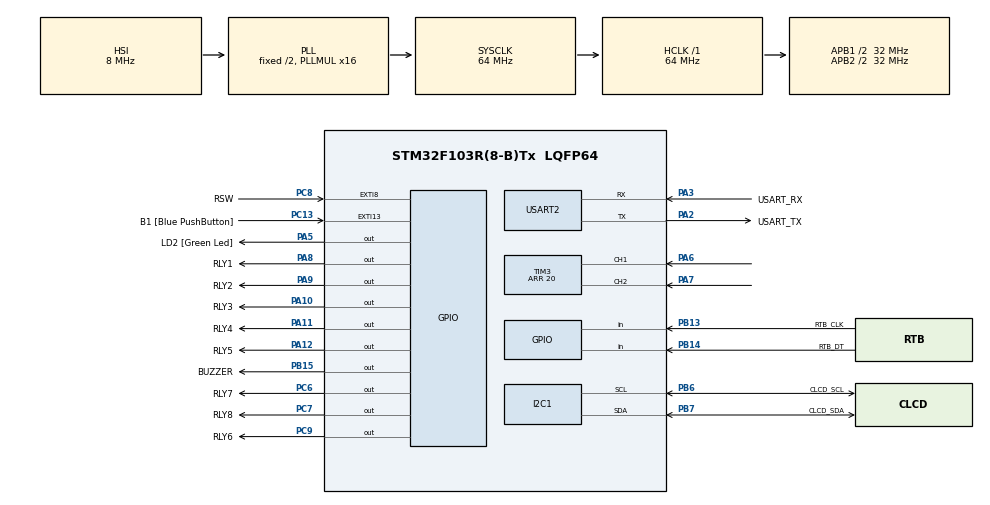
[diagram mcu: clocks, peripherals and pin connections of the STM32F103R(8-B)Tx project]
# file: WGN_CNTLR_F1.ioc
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Mcu.Family=STM32F1
Mcu.Name=STM32F103R(8-B)Tx
Mcu.Package=LQFP64
NVIC.EXTI15_10_IRQn=true\:0\:0\:false\:false\:true\:true\:true\:true
NVIC.EXTI9_5_IRQn=true\:0\:0\:false\:false\:true\:true\:true\:true
NVIC.PriorityGroup=NVIC_PRIORITYGROUP_4
NVIC.TIM2_IRQn=true\:0\:0\:false\:false\:true\:true\:true\:true
NVIC.TIM3_IRQn=true\:0\:0\:false\:false\:true\:true\:true\:true
PA10.GPIO_Label=RLY3
PA10.Signal=GPIO_Output
PA11.GPIO_Label=RLY4
PA11.Signal=GPIO_Output
PA12.GPIO_Label=RLY5
PA12.Signal=GPIO_Output
PA13.GPIO_Label=TMS
PA13.Mode=Serial_Wire
PA13.Signal=SYS_JTMS-SWDIO
PA14.GPIO_Label=TCK
PA14.Mode=Serial_Wire
PA14.Signal=SYS_JTCK-SWCLK
PA2.GPIO_Label=USART_TX
PA2.GPIO_Mode=GPIO_MODE_AF_PP
PA2.GPIO_PuPd=GPIO_NOPULL
PA2.GPIO_Speed=GPIO_SPEED_FREQ_LOW
PA2.Mode=Asynchronous
PA2.Signal=USART2_TX
PA3.GPIO_Label=USART_RX
PA3.GPIO_Mode=GPIO_MODE_AF_PP
PA3.GPIO_PuPd=GPIO_NOPULL
PA3.GPIO_Speed=GPIO_SPEED_FREQ_LOW
PA3.Mode=Asynchronous
PA3.Signal=USART2_RX
PA5.GPIO_Label=LD2 [Green Led]
PA5.GPIO_ModeDefaultOutputPP=GPIO_MODE_OUTPUT_PP
PA5.GPIO_PuPd=GPIO_NOPULL
PA5.GPIO_Speed=GPIO_SPEED_FREQ_LOW
PA5.Signal=GPIO_Output
PA6.GPIO_PuPd=GPIO_PULLDOWN
PA6.Signal=S_TIM3_CH1
PA7.GPIO_PuPd=GPIO_PULLDOWN
PA7.Signal=S_TIM3_CH2
PA8.GPIO_Label=RLY1
PA8.Signal=GPIO_Output
PA9.GPIO_Label=RLY2
PA9.Signal=GPIO_Output
PB13.GPIO_Label=RTB_CLK
PB13.Signal=GPIO_Input
PB14.GPIO_Label=RTB_DT
PB14.Signal=GPIO_Input
PB15.GPIO_Label=BUZZER
PB15.Signal=GPIO_Output
PB3.GPIO_Label=SWO
PB3.Signal=SYS_JTDO-TRACESWO
PB6.GPIO_Label=CLCD_SCL
PB6.Mode=I2C
PB6.Signal=I2C1_SCL
PB7.GPIO_Label=CLCD_SDA
PB7.Mode=I2C
PB7.Signal=I2C1_SDA
PC13-TAMPER-RTC.GPIO_Label=B1 [Blue PushButton]
PC13-TAMPER-RTC.GPIO_PuPd=GPIO_NOPULL
PC13-TAMPER-RTC.Signal=GPXTI13
PC14-OSC32_IN.Mode=LSE-External-Oscillator
PC14-OSC32_IN.Signal=RCC_OSC32_IN
PC15-OSC32_OUT.Mode=LSE-External-Oscillator
PC15-OSC32_OUT.Signal=RCC_OSC32_OUT
PC6.GPIO_Label=RLY7
PC6.Signal=GPIO_Output
PC7.GPIO_Label=RLY8
PC7.Signal=GPIO_Output
PC8.GPIO_Label=RSW
PC8.GPIO_ModeDefaultEXTI=GPIO_MODE_IT_RISING
PC8.GPIO_PuPd=GPIO_PULLDOWN
PC8.Signal=GPXTI8
PC9.GPIO_Label=RLY6
PC9.Signal=GPIO_Output
PD0-OSC_IN.Mode=HSE-External-Oscillator
PD0-OSC_IN.Signal=RCC_OSC_IN
PD1-OSC_OUT.Mode=HSE-External-Oscillator
PD1-OSC_OUT.Signal=RCC_OSC_OUT
ProjectManager.HeapSize=0x200
ProjectManager.StackSize=0x400
ProjectManager.TargetToolchain=STM32CubeIDE
RCC.AHBFreq_Value=64000000
RCC.APB1CLKDivider=RCC_HCLK_DIV2
RCC.APB1Freq_Value=32000000
RCC.APB1TimFreq_Value=64000000
RCC.APB2CLKDivider=RCC_HCLK_DIV2
RCC.APB2Freq_Value=32000000
RCC.APB2TimFreq_Value=64000000
RCC.HCLKFreq_Value=64000000
RCC.PLLMUL=RCC_PLL_MUL16
RCC.RTCClockSelection=RCC_RTCCLKSOURCE_LSE
RCC.SYSCLKFreq_VALUE=64000000
RCC.SYSCLKSource=RCC_SYSCLKSOURCE_PLLCLK
RCC.USBFreq_Value=64000000
SH.S_TIM3_CH1.0=TIM3_CH1,Encoder_Interface
SH.S_TIM3_CH2.0=TIM3_CH2,Encoder_Interface
TIM2.Period=65216
TIM2.Prescaler=2943
TIM3.ClockDivision=TIM_CLOCKDIVISION_DIV4
TIM3.EncoderMode=TIM_ENCODERMODE_TI12
TIM3.IC1Filter=10
TIM3.IC1Polarity=TIM_ICPOLARITY_RISING
TIM3.IC2Filter=10
TIM3.IC2Polarity=TIM_ICPOLARITY_RISING
TIM3.Period=20
USART2.VirtualMode=VM_ASYNC
VP_TIM2_VS_ClockSourceINT.Mode=Internal
board=NUCLEO-F103RB

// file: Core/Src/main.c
/* USER CODE BEGIN Header */
/**
  ******************************************************************************
  * @file           : main.c
  * @brief          : Main program body
  ******************************************************************************
  * @attention
  *
  * Copyright (c) 2023 STMicroelectronics.
  * All rights reserved.
  *
  * This software is licensed under terms that can be found in the LICENSE file
  * in the root directory of this software component.
  * If no LICENSE file comes with this software, it is provided AS-IS.
  *
  ******************************************************************************
  */
/* USER CODE END Header */
#include "main.h"

/* USER CODE BEGIN Includes */
#include "lcd_i2c.h"
#include "controller.h"
#include <stdio.h>

/* USER CODE END Includes */

/* USER CODE BEGIN PD */
#define TIME_DELAY 1000

/* USER CODE END PD */

I2C_HandleTypeDef hi2c1;

TIM_HandleTypeDef htim2;
TIM_HandleTypeDef htim3;

UART_HandleTypeDef huart2;

/* USER CODE BEGIN PV */
#ifdef __GNUC__
#define PUTCHAR_PROTOTYPE int __io_putchar(int ch)
#else
#define PUTCHAR_PROTOTYPE int fputc(int ch, FILE *f)
#endif

PUTCHAR_PROTOTYPE
{
  HAL_UART_Transmit(&huart2, (uint8_t *)&ch, 1, HAL_MAX_DELAY);
  return ch;
}

volatile uint8_t rsw, prev_rsw;
volatile uint8_t enc_count, prev_enc_count;
volatile int lcd_dump = 0;
uint8_t menu = 1;
uint32_t dump_cur_tick, dump_prev_tick;
uint8_t dump_count = 1;

/* USER CODE END PV */

void SystemClock_Config(void);
static void MX_GPIO_Init(void);
static void MX_I2C1_Init(void);
static void MX_USART2_UART_Init(void);
static void MX_TIM2_Init(void);
static void MX_TIM3_Init(void);

/* USER CODE BEGIN 0 */

void update_menu()
{
	dump_count = 3;
	switch (menu) {
    case FOG_LAMP_H ... (MAX_CONTORLLER_TYPES-1):
    	controller_update_lcd(menu, EDIT);
    	controller_beep(menu, SCROLL_BEEP);
    break;
	}
}

void action()
{
	dump_count = 3;
	switch (menu) {
	    case FOG_LAMP_H ... (MAX_CONTORLLER_TYPES-1):
			controller_toggle_state(menu);
	    	controller_update_lcd(menu, EDIT);
	    	HAL_Delay(TIME_DELAY);
	    break;
	}
}

/* USER CODE END 0 */

int main(void)
{

  /* MCU Configuration--------------------------------------------------------*/

  /* Reset of all peripherals, Initializes the Flash interface and the Systick. */
  HAL_Init();

  /* Configure the system clock */
  SystemClock_Config();

  /* Initialize all configured peripherals */
  MX_GPIO_Init();
  MX_I2C1_Init();
  MX_USART2_UART_Init();
  MX_TIM2_Init();
  MX_TIM3_Init();
  /* USER CODE BEGIN 2 */

  lcd_init();
  lcd_backlight(1); // Turn on backlight
  lcd_clear();
  controller_init();

  controller_splash();

  HAL_TIM_Base_Start_IT(&htim2);
  HAL_TIM_Encoder_Start_IT(&htim3, TIM_CHANNEL_ALL);

  /* USER CODE END 2 */

  /* Infinite loop */
  while (1)
  {

    /* USER CODE BEGIN 3 */
	  if(enc_count != prev_enc_count) {
		  menu = prev_enc_count = enc_count;
		  update_menu();
	  }
	  if(rsw == ON) {
		  action();
		  rsw = OFF;
	  }
	  if(dump_count && (enc_count == prev_enc_count) && (rsw == OFF))
	  {
		  dump_cur_tick = HAL_GetTick();
		  if((dump_cur_tick - dump_prev_tick) > (TIME_DELAY * 2))
		  {
			  dump_count--;
			  dump_prev_tick = dump_cur_tick;
		  }

	  }
	  if(!dump_count)
		  if(lcd_dump)
			  controller_dump_state();
  }
  /* USER CODE END 3 */
}

void SystemClock_Config(void)
{
  RCC_OscInitTypeDef RCC_OscInitStruct = {0};
  RCC_ClkInitTypeDef RCC_ClkInitStruct = {0};

  /** Initializes the RCC Oscillators according to the specified parameters
  * in the RCC_OscInitTypeDef structure.
  */
  RCC_OscInitStruct.OscillatorType = RCC_OSCILLATORTYPE_HSI;
  RCC_OscInitStruct.HSIState = RCC_HSI_ON;
  RCC_OscInitStruct.HSICalibrationValue = RCC_HSICALIBRATION_DEFAULT;
  RCC_OscInitStruct.PLL.PLLState = RCC_PLL_ON;
  RCC_OscInitStruct.PLL.PLLSource = RCC_PLLSOURCE_HSI_DIV2;
  RCC_OscInitStruct.PLL.PLLMUL = RCC_PLL_MUL16;
  if (HAL_RCC_OscConfig(&RCC_OscInitStruct) != HAL_OK)
  {
    Error_Handler();
  }

  /** Initializes the CPU, AHB and APB buses clocks
  */
  RCC_ClkInitStruct.ClockType = RCC_CLOCKTYPE_HCLK|RCC_CLOCKTYPE_SYSCLK
                              |RCC_CLOCKTYPE_PCLK1|RCC_CLOCKTYPE_PCLK2;
  RCC_ClkInitStruct.SYSCLKSource = RCC_SYSCLKSOURCE_PLLCLK;
  RCC_ClkInitStruct.AHBCLKDivider = RCC_SYSCLK_DIV1;
  RCC_ClkInitStruct.APB1CLKDivider = RCC_HCLK_DIV2;
  RCC_ClkInitStruct.APB2CLKDivider = RCC_HCLK_DIV2;

  if (HAL_RCC_ClockConfig(&RCC_ClkInitStruct, FLASH_LATENCY_2) != HAL_OK)
  {
    Error_Handler();
  }
}

static void MX_I2C1_Init(void)
{

  hi2c1.Instance = I2C1;
  hi2c1.Init.ClockSpeed = 100000;
  hi2c1.Init.DutyCycle = I2C_DUTYCYCLE_2;
  hi2c1.Init.OwnAddress1 = 0;
  hi2c1.Init.AddressingMode = I2C_ADDRESSINGMODE_7BIT;
  hi2c1.Init.DualAddressMode = I2C_DUALADDRESS_DISABLE;
  hi2c1.Init.OwnAddress2 = 0;
  hi2c1.Init.GeneralCallMode = I2C_GENERALCALL_DISABLE;
  hi2c1.Init.NoStretchMode = I2C_NOSTRETCH_DISABLE;
  if (HAL_I2C_Init(&hi2c1) != HAL_OK)
  {
    Error_Handler();
  }

}

static void MX_TIM2_Init(void)
{

  TIM_ClockConfigTypeDef sClockSourceConfig = {0};
  TIM_MasterConfigTypeDef sMasterConfig = {0};

  /* USER CODE BEGIN TIM2_Init 1 */
  //TIM_CLK/(TIM_PSC+1)/(TIM_ARR + 1)
  //64MHZ/20000

  //htim2.Init.Prescaler = 2943;
  //htim2.Init.CounterMode = TIM_COUNTERMODE_UP;
  //htim2.Init.Period = 65216;
  /* USER CODE END TIM2_Init 1 */
  htim2.Instance = TIM2;
  htim2.Init.Prescaler = 2943;
  htim2.Init.CounterMode = TIM_COUNTERMODE_UP;
  htim2.Init.Period = 65216;
  htim2.Init.ClockDivision = TIM_CLOCKDIVISION_DIV1;
  htim2.Init.AutoReloadPreload = TIM_AUTORELOAD_PRELOAD_DISABLE;
  if (HAL_TIM_Base_Init(&htim2) != HAL_OK)
  {
    Error_Handler();
  }
  sClockSourceConfig.ClockSource = TIM_CLOCKSOURCE_INTERNAL;
  if (HAL_TIM_ConfigClockSource(&htim2, &sClockSourceConfig) != HAL_OK)
  {
    Error_Handler();
  }
  sMasterConfig.MasterOutputTrigger = TIM_TRGO_RESET;
  sMasterConfig.MasterSlaveMode = TIM_MASTERSLAVEMODE_DISABLE;
  if (HAL_TIMEx_MasterConfigSynchronization(&htim2, &sMasterConfig) != HAL_OK)
  {
    Error_Handler();
  }

}

static void MX_TIM3_Init(void)
{

  /* USER CODE BEGIN TIM3_Init 0 */
	//set 16 as period for all values
  /* USER CODE END TIM3_Init 0 */

  TIM_Encoder_InitTypeDef sConfig = {0};
  TIM_MasterConfigTypeDef sMasterConfig = {0};

  htim3.Instance = TIM3;
  htim3.Init.Prescaler = 0;
  htim3.Init.CounterMode = TIM_COUNTERMODE_UP;
  htim3.Init.Period = 20;
  htim3.Init.ClockDivision = TIM_CLOCKDIVISION_DIV4;
  htim3.Init.AutoReloadPreload = TIM_AUTORELOAD_PRELOAD_DISABLE;
  sConfig.EncoderMode = TIM_ENCODERMODE_TI12;
  sConfig.IC1Polarity = TIM_ICPOLARITY_RISING;
  sConfig.IC1Selection = TIM_ICSELECTION_DIRECTTI;
  sConfig.IC1Prescaler = TIM_ICPSC_DIV1;
  sConfig.IC1Filter = 10;
  sConfig.IC2Polarity = TIM_ICPOLARITY_RISING;
  sConfig.IC2Selection = TIM_ICSELECTION_DIRECTTI;
  sConfig.IC2Prescaler = TIM_ICPSC_DIV1;
  sConfig.IC2Filter = 10;
  if (HAL_TIM_Encoder_Init(&htim3, &sConfig) != HAL_OK)
  {
    Error_Handler();
  }
  sMasterConfig.MasterOutputTrigger = TIM_TRGO_RESET;
  sMasterConfig.MasterSlaveMode = TIM_MASTERSLAVEMODE_DISABLE;
  if (HAL_TIMEx_MasterConfigSynchronization(&htim3, &sMasterConfig) != HAL_OK)
  {
    Error_Handler();
  }

}

static void MX_USART2_UART_Init(void)
{

  huart2.Instance = USART2;
  huart2.Init.BaudRate = 115200;
  huart2.Init.WordLength = UART_WORDLENGTH_8B;
  huart2.Init.StopBits = UART_STOPBITS_1;
  huart2.Init.Parity = UART_PARITY_NONE;
  huart2.Init.Mode = UART_MODE_TX_RX;
  huart2.Init.HwFlowCtl = UART_HWCONTROL_NONE;
  huart2.Init.OverSampling = UART_OVERSAMPLING_16;
  if (HAL_UART_Init(&huart2) != HAL_OK)
  {
    Error_Handler();
  }

}

static void MX_GPIO_Init(void)
{
  GPIO_InitTypeDef GPIO_InitStruct = {0};

  /* GPIO Ports Clock Enable */
  __HAL_RCC_GPIOC_CLK_ENABLE();
  __HAL_RCC_GPIOD_CLK_ENABLE();
  __HAL_RCC_GPIOA_CLK_ENABLE();
  __HAL_RCC_GPIOB_CLK_ENABLE();

  /*Configure GPIO pin Output Level */
  HAL_GPIO_WritePin(GPIOA, LD2_Pin|RLY1_Pin|RLY2_Pin|RLY3_Pin
                          |RLY4_Pin|RLY5_Pin, GPIO_PIN_RESET);

  /*Configure GPIO pin Output Level */
  HAL_GPIO_WritePin(BUZZER_GPIO_Port, BUZZER_Pin, GPIO_PIN_RESET);

  /*Configure GPIO pin Output Level */
  HAL_GPIO_WritePin(GPIOC, RLY7_Pin|RLY8_Pin|RLY6_Pin, GPIO_PIN_RESET);

  /*Configure GPIO pin : B1_Pin */
  GPIO_InitStruct.Pin = B1_Pin;
  GPIO_InitStruct.Mode = GPIO_MODE_IT_RISING;
  GPIO_InitStruct.Pull = GPIO_NOPULL;
  HAL_GPIO_Init(B1_GPIO_Port, &GPIO_InitStruct);

  /*Configure GPIO pins : LD2_Pin RLY1_Pin RLY2_Pin RLY3_Pin
                           RLY4_Pin RLY5_Pin */
  GPIO_InitStruct.Pin = LD2_Pin|RLY1_Pin|RLY2_Pin|RLY3_Pin
                          |RLY4_Pin|RLY5_Pin;
  GPIO_InitStruct.Mode = GPIO_MODE_OUTPUT_PP;
  GPIO_InitStruct.Pull = GPIO_NOPULL;
  GPIO_InitStruct.Speed = GPIO_SPEED_FREQ_LOW;
  HAL_GPIO_Init(GPIOA, &GPIO_InitStruct);

  /*Configure GPIO pins : RTB_CLK_Pin RTB_DT_Pin */
  GPIO_InitStruct.Pin = RTB_CLK_Pin|RTB_DT_Pin;
  GPIO_InitStruct.Mode = GPIO_MODE_INPUT;
  GPIO_InitStruct.Pull = GPIO_NOPULL;
  HAL_GPIO_Init(GPIOB, &GPIO_InitStruct);

  /*Configure GPIO pin : BUZZER_Pin */
  GPIO_InitStruct.Pin = BUZZER_Pin;
  GPIO_InitStruct.Mode = GPIO_MODE_OUTPUT_PP;
  GPIO_InitStruct.Pull = GPIO_NOPULL;
  GPIO_InitStruct.Speed = GPIO_SPEED_FREQ_LOW;
  HAL_GPIO_Init(BUZZER_GPIO_Port, &GPIO_InitStruct);

  /*Configure GPIO pins : RLY7_Pin RLY8_Pin RLY6_Pin */
  GPIO_InitStruct.Pin = RLY7_Pin|RLY8_Pin|RLY6_Pin;
  GPIO_InitStruct.Mode = GPIO_MODE_OUTPUT_PP;
  GPIO_InitStruct.Pull = GPIO_NOPULL;
  GPIO_InitStruct.Speed = GPIO_SPEED_FREQ_LOW;
  HAL_GPIO_Init(GPIOC, &GPIO_InitStruct);

  /*Configure GPIO pin : RSW_Pin */
  GPIO_InitStruct.Pin = RSW_Pin;
  GPIO_InitStruct.Mode = GPIO_MODE_IT_RISING;
  GPIO_InitStruct.Pull = GPIO_PULLUP;
  HAL_GPIO_Init(RSW_GPIO_Port, &GPIO_InitStruct);

  /* EXTI interrupt init*/
  HAL_NVIC_SetPriority(EXTI9_5_IRQn, 0, 0);
  HAL_NVIC_EnableIRQ(EXTI9_5_IRQn);

  HAL_NVIC_SetPriority(EXTI15_10_IRQn, 0, 0);
  HAL_NVIC_EnableIRQ(EXTI15_10_IRQn);

}

/* USER CODE BEGIN 4 */

void HAL_TIM_IC_CaptureCallback(TIM_HandleTypeDef *htim)
{
	if(htim->Instance == TIM3) {
		enc_count = __HAL_TIM_GET_COUNTER(htim)>>2;
	}
}

void HAL_TIM_PeriodElapsedCallback(TIM_HandleTypeDef *htim)
{
	if(htim->Instance == TIM2) {
		lcd_dump = 1;
	}
}

uint32_t cur, prev;
void HAL_GPIO_EXTI_Callback(uint16_t GPIO_Pin)
{
	cur = HAL_GetTick();
	if((GPIO_Pin == RSW_Pin) && (cur - prev > 5))
	{
		HAL_GPIO_TogglePin(LD2_GPIO_Port, LD2_Pin);
		rsw = ON;
		prev = cur;
	}
}
/* USER CODE END 4 */

void Error_Handler(void)
{
  __disable_irq();
  while (1)
  {
  }
}
